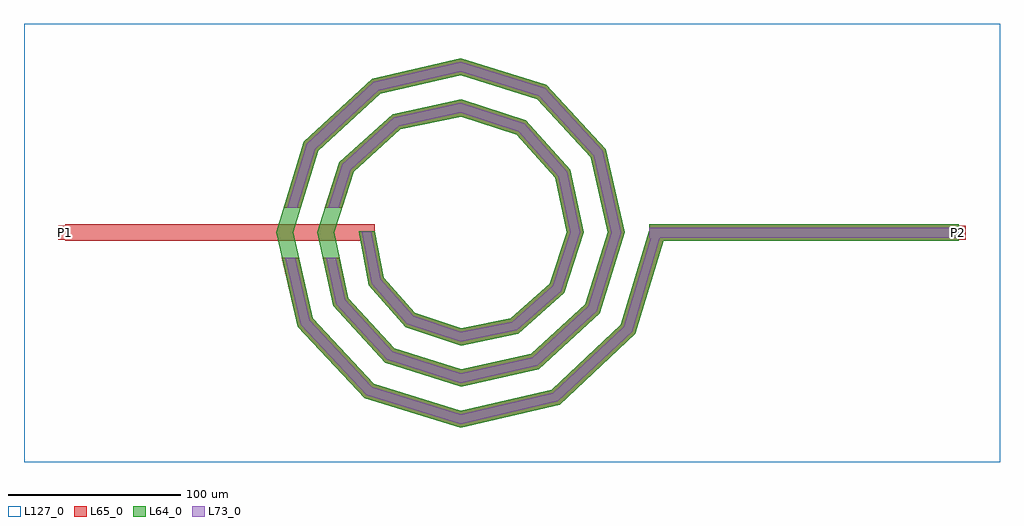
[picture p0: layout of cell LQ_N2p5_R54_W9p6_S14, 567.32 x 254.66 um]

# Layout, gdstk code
import gdstk
lib = gdstk.Library(unit=1e-6, precision=1e-09)
def R(c, l, rs):  # rectangles x0, y0, x1, y1
    for r in rs: c.add(gdstk.rectangle(r[:2], r[2:], *l))
def P(c, l, *ps):  # polygons
    for p in ps: c.add(gdstk.Polygon(p, *l))
L64_0 = (64, 0)
L65_0 = (65, 0)
L73_0 = (73, 0)
L127_0 = (127, 0)

lq_n2p5_r54_w9p6_s14 = lib.new_cell('LQ_N2p5_R54_W9p6_S14')
R(lq_n2p5_r54_w9p6_s14, L64_0, [(109.499,-4.8,289.499,4.8)])
P(lq_n2p5_r54_w9p6_s14, L64_0, [(-44.567,-26.107),(-26.547,-46.61),(0.304,-55.627),(29.063,-49.75),(51.762,-29.555),(61.594,0.277),(54.93,32.024),(32.56,56.917),(0.254,67.561),(-34.989,60.108),(-62.075,35.561),(-73.528,0.235),(-65.285,-37.957),(-38.559,-67.234),(0.218,-79.495),(40.927,-70.461),(72.394,-41.556),(85.462,0.204),(75.635,43.898),(44.551,77.555),(0.191,91.43),(-46.872,80.809),(-82.718,47.545),(-97.397,0.18),(-85.983,-49.846),(-50.538,-87.88),(0.17,-103.365),(52.822,-91.155),(93.044,-53.529),(109.706,1.393),(118.893,-1.393),(101.483,-58.781),(57.499,-99.926),(0.17,-113.298),(-55.805,-96.31),(-94.762,-54.507),(-107.33,0.18),(-91.136,52.829),(-51.513,89.599),(0.191,101.362),(49.855,85.961),(84.436,48.519),(95.394,0.204),(80.786,-46.883),(45.523,-79.274),(0.218,-89.425),(-43.911,-75.61),(-74.113,-42.525),(-83.457,0.235),(-70.432,40.942),(-39.525,68.953),(0.254,77.488),(37.976,65.253),(63.795,36.522),(71.519,0.277),(60.072,-35.012),(33.515,-58.638),(0.304,-65.55),(-32.052,-54.888),(-53.484,-30.503),(-59.33,0.931),(-49.912,0.931)])
R(lq_n2p5_r54_w9p6_s14, L65_0, [(-229.821,-4.8,-49.821,4.8), (109.499,-4.8,289.499,4.8), (-233.821,-4,-225.821,4), (285.499,-4,293.499,4)])
P(lq_n2p5_r54_w9p6_s14, L65_0, [(-85.983,-49.846),(-50.538,-87.88),(0.17,-103.365),(52.822,-91.156),(93.044,-53.529),(109.706,1.394),(118.893,-1.394),(101.483,-58.781),(57.499,-99.926),(0.17,-113.298),(-55.805,-96.31),(-94.762,-54.507),(-103.979,-14.4),(-94.129,-14.4)],
  [(-65.285,-37.957),(-38.559,-67.234),(0.218,-79.495),(40.927,-70.461),(72.394,-41.556),(85.462,0.204),(75.635,43.898),(44.551,77.555),(0.191,91.43),(-46.872,80.809),(-82.718,47.545),(-92.912,14.4),(-102.956,14.4),(-91.136,52.829),(-51.513,89.599),(0.191,101.362),(49.855,85.962),(84.436,48.519),(95.394,0.204),(80.786,-46.883),(45.523,-79.274),(0.218,-89.425),(-43.912,-75.61),(-74.113,-42.525),(-80.259,-14.4),(-70.432,-14.4)],
  [(-26.547,-46.61),(0.304,-55.627),(29.063,-49.75),(51.762,-29.555),(61.594,0.277),(54.93,32.024),(32.56,56.917),(0.254,67.561),(-34.989,60.108),(-62.075,35.561),(-68.845,14.4),(-78.925,14.4),(-70.432,40.942),(-39.525,68.953),(0.254,77.488),(37.976,65.253),(63.795,36.522),(71.519,0.277),(60.072,-35.012),(33.515,-58.638),(0.304,-65.55),(-32.052,-54.888),(-53.484,-30.503),(-59.33,0.931),(-49.912,0.931),(-44.568,-26.107)])
R(lq_n2p5_r54_w9p6_s14, L73_0, [(109.499,-2.8,289.499,2.8)])
P(lq_n2p5_r54_w9p6_s14, L73_0, [(-87.812,-50.817),(-51.635,-89.637),(0.099,-105.434),(53.796,-92.983),(94.802,-54.623),(111.62,0.813),(116.979,0.813),(99.725,-57.687),(56.525,-98.099),(0.099,-111.229),(-54.707,-94.554),(-92.933,-53.536),(-101.927,-14.4),(-96.181,-14.4)],
  [(-67.124,-38.908),(-39.674,-68.979),(0.127,-81.564),(41.884,-72.297),(74.142,-42.666),(87.531,0.119),(77.469,44.861),(45.656,79.307),(0.112,93.499),(-47.839,82.64),(-84.471,48.646),(-95.005,14.4),(-100.864,14.4),(-89.382,51.729),(-50.546,87.768),(0.112,99.293),(48.75,84.21),(82.603,47.556),(93.325,0.119),(79.038,-45.773),(44.565,-77.438),(0.127,-87.357),(-42.796,-73.865),(-72.274,-41.573),(-78.212,-14.4),(-72.48,-14.4)],
  [(-27.694,-48.334),(0.177,-57.695),(29.991,-51.602),(53.493,-30.692),(63.662,0.162),(56.777,32.961),(33.688,58.654),(0.148,69.629),(-35.934,61.951),(-63.816,36.682),(-70.945,14.4),(-76.825,14.4),(-68.691,39.821),(-38.58,67.111),(0.148,75.42),(36.847,63.517),(61.948,35.585),(69.452,0.162),(58.341,-33.875),(32.588,-56.787),(0.177,-63.483),(-30.905,-53.163),(-51.627,-29.588),(-57.368,0.543),(-51.874,0.543),(-46.425,-27.023)])
R(lq_n2p5_r54_w9p6_s14, L127_0, [(-253.821,-133.298,313.499,121.362)])
lq_n2p5_r54_w9p6_s14.add(gdstk.Label('P2', (289.499,0), layer=65, texttype=0))
lq_n2p5_r54_w9p6_s14.add(gdstk.Label('P1', (-229.821,0), layer=65, texttype=0))
lq_n2p5_r54_w9p6_s14.add(gdstk.Label('P2', (293.499,0), layer=145, texttype=0))
lq_n2p5_r54_w9p6_s14.add(gdstk.Label('P1', (-233.821,0), layer=145, texttype=0))

lib.write_gds('LQ_N2p5_R54_W9p6_S14.gds')
